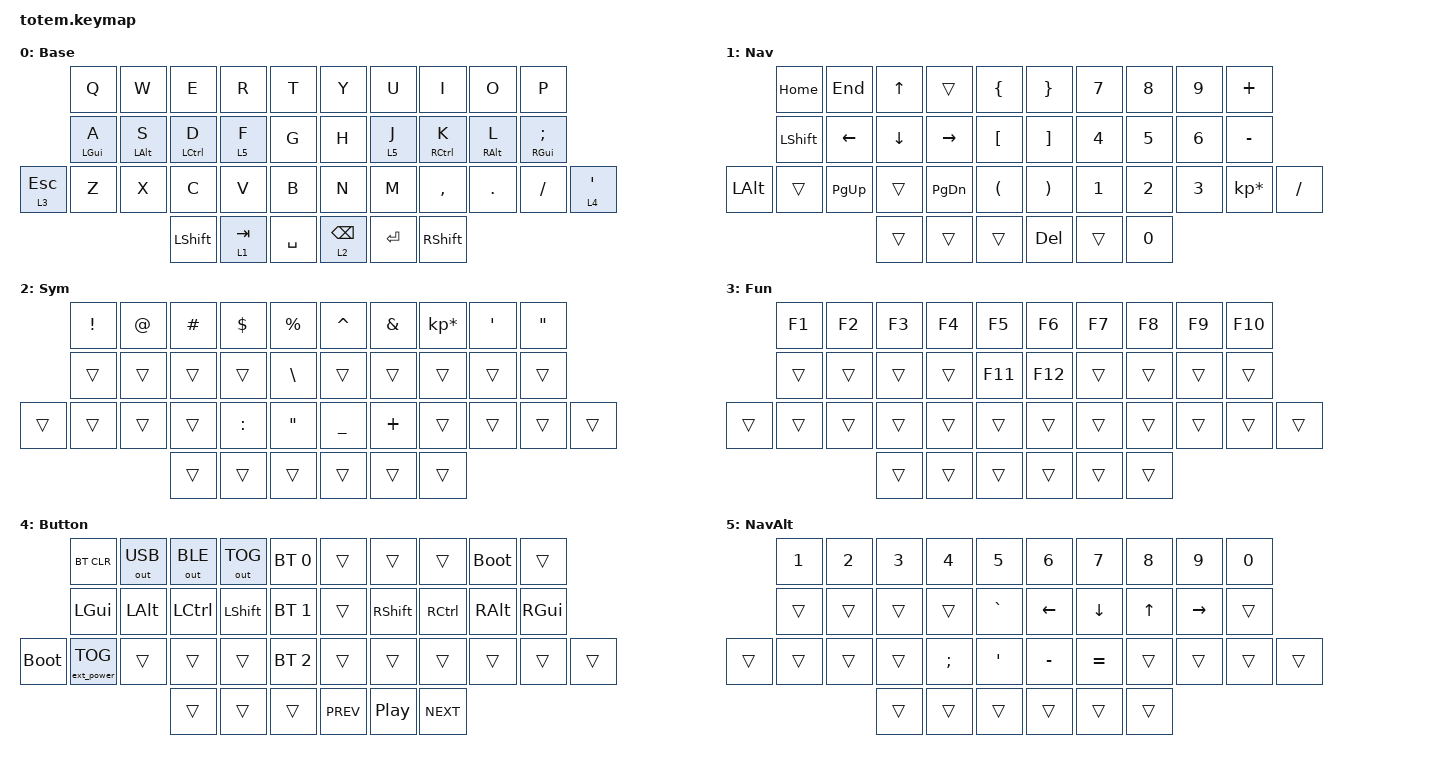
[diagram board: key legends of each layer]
//
//                                                        ▀▀▀▀▀     ▀▀▀▀▀          ▀▀█▀▀
//                                                        ▄▀▀▀▄  ▄  ▄▀▀▀▄  ▄  ▄▀▀▀▄  █  ▄▀▀▀▄
//                                                        █   █  █  █   █  █  █   █  █  █   █
//                                                         ▀▀▀   █   ▀▀▀   █   ▀▀▀   ▀   ▀▀▀
//                                                               █      ▄▄▄█▄▄▄    █   █  
//                                                               ▀      █  █  █     █▄█
//                                                             ▀▀▀▀▀    █  █  █      ▀
//                                                                      ▀  ▀  ▀
//
// ▄▄▄▄▄▄▄▄▄▄▄▄▄▄▄▄▄▄▄▄▄▄▄▄▄▄▄▄▄▄▄▄▄▄▄▄▄▄▄▄▄▄▄▄▄▄▄▄▄▄▄▄▄▄▄▄▄▄▄▄▄▄▄▄▄▄▄▄▄▄▄▄▄▄▄▄▄▄▄▄▄▄▄▄▄▄▄▄▄▄▄▄▄▄▄▄▄▄▄▄▄▄▄▄▄▄▄▄▄▄▄▄▄▄▄▄▄▄▄▄▄▄▄▄▄▄▄▄▄▄▄▄▄▄▄▄▄▄▄▄▄▄▄▄▄▄▄▄▄

#include <behaviors.dtsi>
#include <dt-bindings/zmk/bt.h>
#include <dt-bindings/zmk/ext_power.h>
#include <dt-bindings/zmk/keys.h>
#include <dt-bindings/zmk/outputs.h>

#define Base        0
#define Media       1
#define Nav         2
#define Mouse       3
#define Sym         4
#define Num         5
#define Fun         6
#define Button      7
#define NavAlt      8

&mt {
    quick-tap-ms = <100>;
    global-quick-tap;
    flavor = "tap-preferred";
    tapping-term-ms = <170>;
};

&lt {
    tapping-term-ms = <240>;
    flavor = "balanced";
    quick-tap-ms = <150>;
};

/ {
    behaviors {
        hm: homerow_mods {
            compatible = "zmk,behavior-hold-tap";
            label = "HOMEROW_MODS";
            #binding-cells = <2>;
            flavor = "tap-preferred";
            tapping-term-ms = <200>;
            quick-tap-ms = <125>;
            global-quick-tap;
            bindings =
                <&kp>,
                <&kp>;
        };
    };

    combos {
        compatible = "zmk,combos";
    };

    keymap {
        compatible = "zmk,keymap";

        Base {
            label = "Base";
            bindings = <
                   &kp Q       &kp W          &kp E         &kp R      &kp T        &kp Y        &kp U            &kp I       &kp O               &kp P
              &hm LGUI A  &hm LALT S    &hm LCTRL D       &lt 5 F      &kp G        &kp H      &lt 5 J      &hm RCTRL K  &hm RALT L  &hm RGUI SEMICOLON
&lt 3 ESCAPE       &kp Z       &kp X          &kp C         &kp V      &kp B        &kp N        &kp M        &kp COMMA     &kp DOT           &kp SLASH  &lt 4 APOSTROPHE
                                         &kp LSHIFT     &lt 1 TAB  &kp SPACE   &lt 2 BSPC      &kp RET       &kp RSHIFT
            >;
        };

        Nav {
            label = "Nav";
            bindings = <
                    &kp HOME      &kp END  &kp UP_ARROW     &trans  &kp LBRC  &kp RBRC  &kp NUMBER_7  &kp NUMBER_8  &kp NUMBER_9         &kp PLUS
              &kp LEFT_SHIFT     &kp LEFT      &kp DOWN  &kp RIGHT  &kp LBKT  &kp RBKT  &kp NUMBER_4  &kp NUMBER_5  &kp NUMBER_6        &kp MINUS
&kp LEFT_ALT          &trans  &kp PAGE_UP        &trans  &kp PG_DN  &kp LPAR  &kp RPAR  &kp NUMBER_1  &kp NUMBER_2  &kp NUMBER_3  &kp KP_MULTIPLY  &kp SLASH
                                                 &trans     &trans    &trans   &kp DEL        &trans  &kp NUMBER_0
            >;
        };

        Sym {
            label = "Sym";
            bindings = <
        &kp EXCL  &kp AT  &kp HASH  &kp DOLLAR    &kp PERCENT       &kp CARET  &kp AMPERSAND  &kp KP_ASTERISK  &kp SQT    &kp DQT
          &trans  &trans    &trans      &trans  &kp BACKSLASH          &trans         &trans           &trans   &trans     &trans
&trans    &trans  &trans    &trans   &kp COLON        &kp DQT  &kp UNDERSCORE       &kp PLUS           &trans   &trans     &trans   &trans
                            &trans      &trans         &trans          &trans         &trans           &trans
            >;
        };

        Fun {
            label = "Fun";
            bindings = <
        &kp F1  &kp F2  &kp F3  &kp F4  &kp F5  &kp F6   &kp F7  &kp F8  &kp F9  &kp F10            
        &trans  &trans  &trans  &trans  &kp F11 &kp F12  &trans  &trans  &trans  &trans
&trans  &trans  &trans  &trans  &trans  &trans  &trans   &trans  &trans  &trans  &trans  &trans
                        &trans  &trans  &trans  &trans   &trans  &trans
            >;
        };

        Button {
            label = "Button";
            bindings = <
                    &bt BT_CLR  &out OUT_USB  &out OUT_BLE  &out OUT_TOG  &bt BT_SEL 0      &trans            &trans      &trans  &bootloader    &trans
                      &kp LGUI      &kp LALT     &kp LCTRL    &kp LSHIFT  &bt BT_SEL 1      &trans        &kp RSHIFT   &kp RCTRL     &kp RALT  &kp RGUI
&bootloader  &ext_power EP_TOG        &trans        &trans        &trans  &bt BT_SEL 2      &trans            &trans      &trans       &trans    &trans  &trans
                                                    &trans        &trans        &trans  &kp C_PREV  &kp C_PLAY_PAUSE  &kp C_NEXT
            >;
        };

        NavAlt {
            label = "NavAlt";
            bindings = <
                    &kp NUMBER_1 &kp NUMBER_2 &kp NUMBER_3   &kp NUMBER_4 &kp NUMBER_5     &kp NUMBER_6   &kp NUMBER_7      &kp NUMBER_8       &kp NUMBER_9   &kp NUMBER_0 
                          &trans       &trans       &trans         &trans    &kp GRAVE         &kp LEFT       &kp DOWN      &kp UP_ARROW          &kp RIGHT         &trans 
            &trans        &trans       &trans       &trans       &kp SEMI     &kp APOS        &kp MINUS      &kp EQUAL            &trans             &trans         &trans       &trans
                          &trans       &trans       &trans         &trans       &trans           &trans
            >;
        };
    };
};
